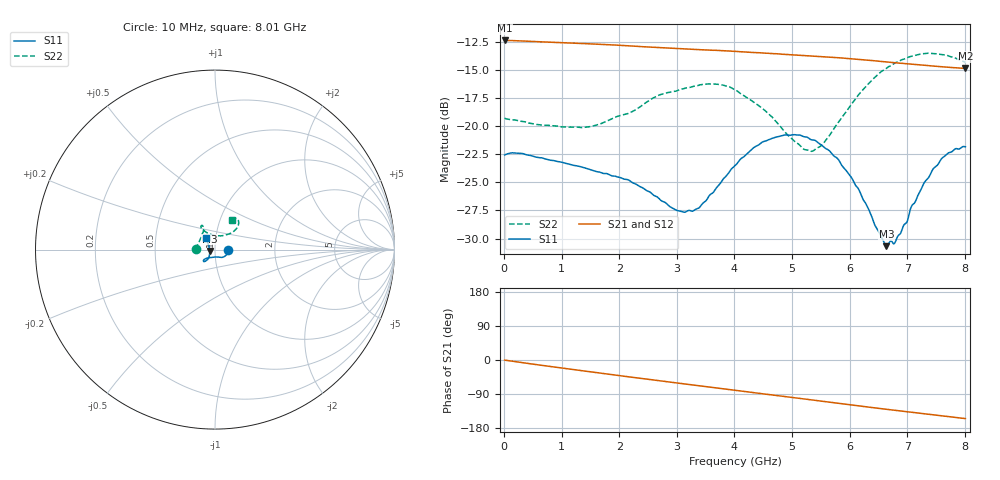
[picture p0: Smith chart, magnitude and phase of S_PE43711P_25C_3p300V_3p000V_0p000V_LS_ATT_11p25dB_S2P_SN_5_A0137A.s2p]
! Device ID: PE43711P
! File Path: z:\PE43711P\CHAR_NOM_04282014\AMB\3p300\LS_ATT_11p25dB\PE43711P_AMB_3p300V_3p000V_0p000V_LS_ATT_11p25dB_S2P_SN_5_A0137A.s2p
! Serial: 5
! Lot: A0137A
! Temp: 25C
! VDD: 3.300
! VSS: 0.000
! Control_Hi: 3.000
! Control_Lo: 0.000
! Attenuation Step: 11.25dB
! Port 1: RF1
! Port 2: RF2
! ThroughPath:1-2
! IDD: 0.0001277985
! ISS: -1.27e-007
#  Hz  S  RI  R  50
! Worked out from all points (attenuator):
!   801 points, 10 MHz to 8.01 GHz, reference 50 ohm
!   highest |S21| = -12.39 dB at 10 MHz (marker M1); lowest = -14.9 dB at 8.01 GHz (marker M2)
!   lowest |S11| = -30.7 dB at 6.64 GHz (marker M3), VSWR 1.06, Z = 47.2 - j0.677 ohm
!   |S11| at or under -10 dB: start of sweep to end of sweep
!   |S22| runs from -22.2 to -13.5 dB; largest |S21 - S12| = 0.00051
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1e7  0.0744 -7.74e-05  0.2403 -0.00122  0.2405 -0.00128  -0.1084 0.00086
3.1e8  0.0746 -0.012  0.2373 -0.0286  0.2376 -0.0285  -0.1045 0.00927
1.35e9  0.0537 -0.0378  0.2054 -0.1098  0.2056 -0.1099  -0.0861 0.0479
2.15e9  0.0375 -0.0439  0.1633 -0.1584  0.1635 -0.1585  -0.0695 0.09
2.68e9  0.023 -0.0421  0.1304 -0.1816  0.1304 -0.1817  -0.0656 0.1203
3.01e9  0.00894 -0.0411  0.1083 -0.1933  0.1084 -0.1934  -0.0666 0.1275
3.3e9  -0.00578 -0.0418  0.0881 -0.2008  0.0882 -0.2009  -0.0697 0.1334
3.69e9  -0.0289 -0.0447  0.0609 -0.2082  0.0608 -0.2082  -0.0763 0.1333
4.01e9  -0.046 -0.0482  0.0376 -0.2116  0.0375 -0.2117  -0.0777 0.1223
4.34e9  -0.0594 -0.0541  0.0139 -0.212  0.0139 -0.2121  -0.0663 0.109
4.69e9  -0.0647 -0.0609  -0.0108 -0.2095  -0.0109 -0.2095  -0.0482 0.0955
5.18e9  -0.0607 -0.0667  -0.0436 -0.2014  -0.0437 -0.2015  -0.00723 0.0795
5.35e9  -0.0572 -0.0652  -0.0547 -0.1975  -0.0547 -0.1977  0.0116 0.0764
5.55e9  -0.0508 -0.0628  -0.0673 -0.192  -0.0673 -0.1922  0.0346 0.0766
6.01e9  -0.0365 -0.0477  -0.0942 -0.1758  -0.0945 -0.1758  0.0839 0.0898
6.64e9  -0.0284 -0.00716  -0.1242 -0.1474  -0.1243 -0.1477  0.1267 0.1288
6.68e9  -0.0299 -0.00373  -0.1258 -0.1457  -0.1258 -0.1459  0.1277 0.1323
6.81e9  -0.0309 0.00515  -0.1308 -0.1393  -0.1307 -0.1394  0.1305 0.1409
7.27e9  -0.04 0.0367  -0.1461 -0.1162  -0.146 -0.1162  0.128 0.1662
7.46e9  -0.0447 0.0471  -0.1513 -0.1062  -0.1513 -0.1063  0.1198 0.1725
7.7e9  -0.0496 0.0568  -0.1569 -0.0937  -0.1568 -0.0935  0.108 0.1753
8.01e9  -0.0507 0.063  -0.163 -0.0773  -0.1633 -0.0768  0.0954 0.1662
